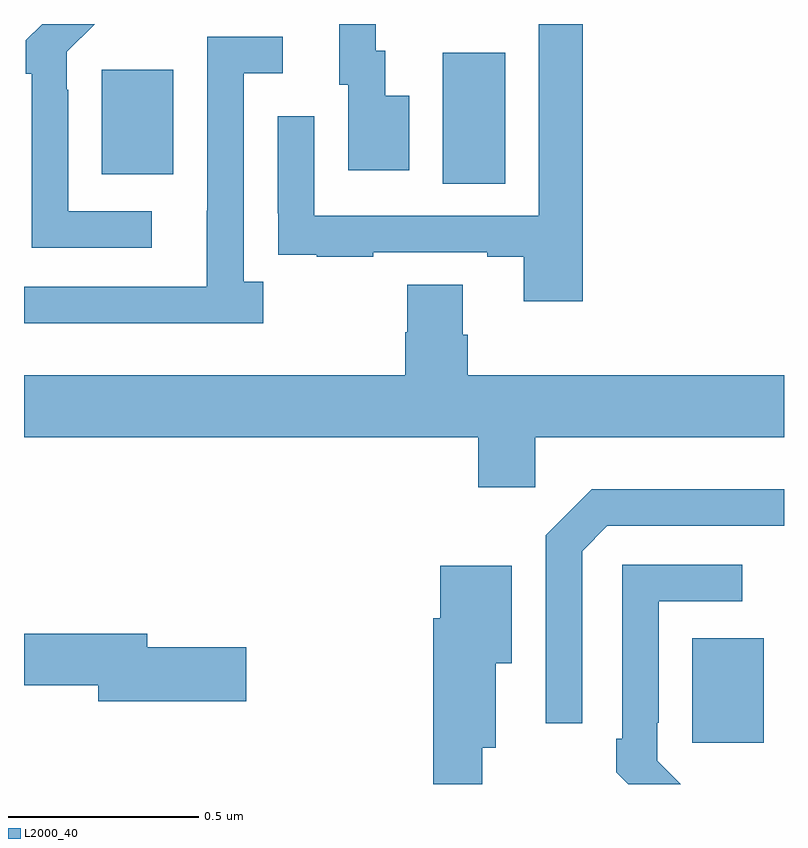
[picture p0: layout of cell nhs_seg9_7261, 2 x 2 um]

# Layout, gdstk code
import gdstk
lib = gdstk.Library(unit=1e-6, precision=1e-09)
def R(c, l, rs):  # rectangles x0, y0, x1, y1
    for r in rs: c.add(gdstk.rectangle(r[:2], r[2:], *l))
def P(c, l, *ps):  # polygons
    for p in ps: c.add(gdstk.Polygon(p, *l))
L2000_40 = (2000, 40)

nhs_seg9_7261 = lib.new_cell('nhs_seg9_7261')
R(nhs_seg9_7261, L2000_40, [(203.759,1203.609,203.947,1203.883), (203.102,1205.08,203.266,1205.424), (202.205,1205.105,202.393,1205.38)])
P(nhs_seg9_7261, L2000_40, [(203.471,1205.5),(203.355,1205.5),(203.355,1204.995),(202.764,1204.995),(202.764,1205.257),(202.668,1205.257),(202.668,1205.002),(202.669,1205.002),(202.669,1204.893),(202.771,1204.893),(202.771,1204.887),(202.919,1204.887),(202.919,1204.899),(203.219,1204.899),(203.219,1204.887),(203.315,1204.887),(203.315,1204.77),(203.471,1204.77)],
  [(202.336,1205.007),(202.116,1205.007),(202.116,1205.327),(202.113,1205.327),(202.113,1205.427),(202.186,1205.5),(202.048,1205.5),(202.005,1205.457),(202.005,1205.369),(202.02,1205.369),(202.02,1204.911),(202.336,1204.911)],
  [(203.014,1205.311),(202.951,1205.311),(202.951,1205.43),(202.926,1205.43),(202.926,1205.5),(202.829,1205.5),(202.829,1205.34),(202.853,1205.34),(202.853,1205.115),(203.014,1205.115)],
  [(202.63,1204.822),(202.578,1204.822),(202.578,1205.37),(202.681,1205.37),(202.681,1205.466),(202.482,1205.466),(202.482,1205.009),(202.481,1205.009),(202.481,1204.809),(202,1204.809),(202,1204.712),(202.63,1204.712)],
  [(203.346,1204.412),(204,1204.412),(204,1204.576),(203.168,1204.576),(203.168,1204.682),(203.155,1204.682),(203.155,1204.814),(203.008,1204.814),(203.008,1204.689),(203.003,1204.689),(203.003,1204.576),(202,1204.576),(202,1204.412),(203.195,1204.412),(203.195,1204.281),(203.346,1204.281)],
  [(203.469,1204.113),(203.535,1204.179),(204,1204.179),(204,1204.276),(203.494,1204.276),(203.373,1204.155),(203.373,1203.66),(203.469,1203.66)],
  [(203.667,1203.561),(203.667,1203.661),(203.67,1203.661),(203.67,1203.981),(203.89,1203.981),(203.89,1204.077),(203.574,1204.077),(203.574,1203.619),(203.559,1203.619),(203.559,1203.531),(203.59,1203.5),(203.728,1203.5)],
  [(203.206,1203.596),(203.242,1203.596),(203.242,1203.818),(203.284,1203.818),(203.284,1204.075),(203.096,1204.075),(203.096,1203.936),(203.077,1203.936),(203.077,1203.5),(203.206,1203.5)],
  [(202.585,1203.86),(202.324,1203.86),(202.324,1203.896),(202,1203.896),(202,1203.76),(202.196,1203.76),(202.196,1203.718),(202.585,1203.718)])

lib.write_gds('nhs_seg9_7261.gds')
